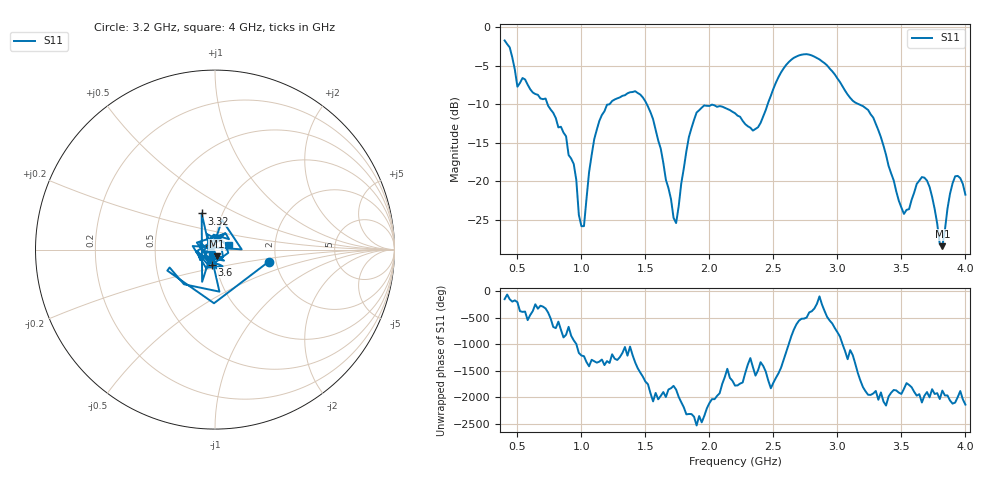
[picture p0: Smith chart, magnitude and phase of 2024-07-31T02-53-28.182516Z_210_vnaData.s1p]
!Created with skrf (http://scikit-rf.org).
# Hz S RI R 50.0
!freq ReS11 ImS11
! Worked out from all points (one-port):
!   181 points, 400 MHz to 4 GHz, reference 50 ohm
!   lowest |S11| = -28.4 dB at 3.82 GHz (marker M1), VSWR 1.08, Z = 50.7 - j3.77 ohm
!   |S11| at or under -10 dB: 735.8 MHz to 1.22 GHz (483.9 MHz wide, 49.5 % of centre); 1.511 GHz to 2.455 GHz (944.2 MHz wide, 47.6 % of centre); 3.167 GHz to end of sweep
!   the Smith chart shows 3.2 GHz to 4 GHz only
!   S11 on the Smith chart (normalised r, x): 3.2 GHz: 1.83, -0.27; 3.32 GHz: 0.80, +0.34; 3.6 GHz: 0.96, -0.16; 4 GHz: 1.17, +0.06
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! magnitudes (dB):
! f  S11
! 400 MHz  -1.7
! 500 MHz  -7.7
! 720 MHz  -9.3
! 860 MHz  -13.7
! 1.02 GHz  -25.8
! 1.06 GHz  -18.8
! 1.12 GHz  -13.3
! 1.3 GHz  -9.1
! 1.5 GHz  -9.6
! 1.62 GHz  -15.8
! 1.72 GHz  -24.7
! 1.76 GHz  -23.2
! 1.84 GHz  -14.2
! 1.9 GHz  -11.1
! 2.2 GHz  -11.2
! 2.38 GHz  -13.0
! 2.66 GHz  -4.0
! 2.86 GHz  -4.2
! 3.1 GHz  -9.2
! 3.2 GHz  -10.2
! 3.32 GHz  -13.4
! 3.5 GHz  -23.4
! 3.56 GHz  -23.6
! 3.6 GHz  -21.4
! 3.7 GHz  -19.9
! 3.82 GHz  -28.4
! 3.92 GHz  -19.3
! 4 GHz  -21.7
